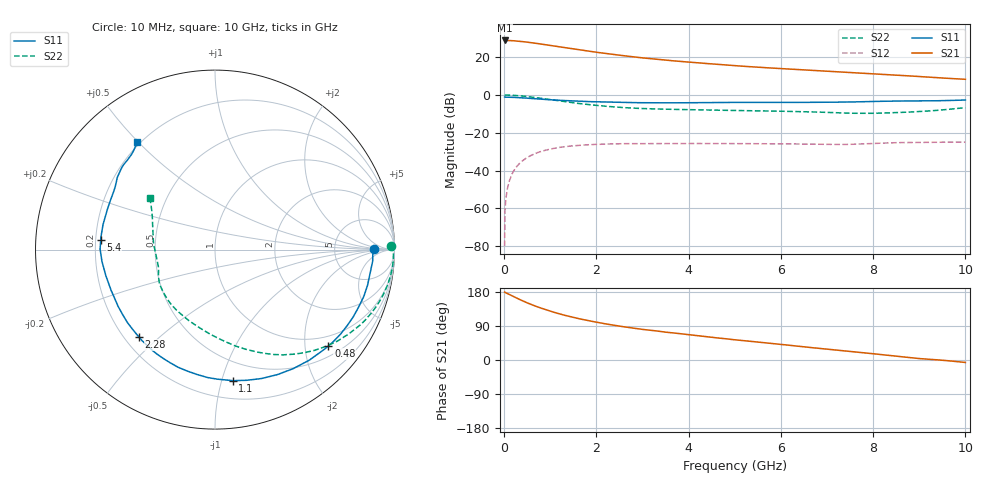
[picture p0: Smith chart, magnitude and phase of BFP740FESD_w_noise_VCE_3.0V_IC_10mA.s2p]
! Infineon Technologies  Discrete & RF Semiconductors
! BFP740FESD
! VCE =  3.0 V,  IC =  10 mA
! Common Emitter S-Parameters:  Jan 2016
# GHz  S  MA  R  50
!  f  S11  S21  S12  S22
! GHz  MAG  ANG  MAG  ANG  MAG  ANG  MAG  ANG
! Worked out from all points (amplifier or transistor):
!   233 points, 10 MHz to 10 GHz, reference 50 ohm
!   highest |S21| = 28.9 dB at 10 MHz (marker M1)
!   |S21| within 3 dB of that: start of sweep to 1.102 GHz
!   unconditionally stable (mu >= 1): start of sweep to 11.35 MHz; 6.442 GHz to end of sweep
!   at 200 MHz: K = 0.05, MSG = 34.6 dB, |S12| = -40.4 dB
!   at 1.74 GHz: K = 0.30, MSG = 25.0 dB, |S12| = -26.4 dB
!   at 10 GHz: K = 1.31, MAG = 13.3 dB, |S12| = -24.9 dB
!   lowest NFmin = 0.61 dB at 450 MHz
!   S11 on the Smith chart (normalised r, x): 10 MHz: 17, +0; 480 MHz: 0.74, -2.54; 1.1 GHz: 0.34, -1.09; 2.28 GHz: 0.26, -0.43; 5.4 GHz: 0.22, +0.04; 10 GHz: 0.19, +0.50
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0.01  0.8863 0.1  27.81 179.3  0.0001 41.2  0.9816 1.3
0.02  0.8796 -1.7  27.7 178.5  0.001 82.1  0.9942 -1.0
0.095  0.8752 -8.2  27.67 174.2  0.0045 84.5  0.9937 -5.4
0.2  0.8693 -17.4  27.35 167.7  0.0095 80.2  0.9818 -11.5
0.26  0.8608 -22.5  26.94 163.9  0.0122 77.1  0.9711 -14.8
0.38  0.8452 -32.4  26.12 157.2  0.0174 71.9  0.9438 -21.3
0.48  0.829 -40.3  25.27 151.9  0.0215 67.6  0.9173 -26.4
0.7  0.7936 -56.7  23.31 141.2  0.0292 59.0  0.8516 -36.8
0.9  0.7638 -70.1  21.46 132.8  0.0348 52.2  0.7894 -45.3
1.1  0.7368 -82.3  19.71 125.2  0.0393 46.2  0.7287 -53.1
1.4  0.7025 -98.4  17.31 115.2  0.0442 38.5  0.6465 -63.7
1.68  0.6798 -110.7  15.42 107.4  0.0471 32.9  0.5853 -72.2
1.94  0.6637 -120.3  13.88 101.1  0.0491 28.6  0.5408 -79.3
2.28  0.6453 -131.1  12.24 93.8  0.0506 24.0  0.4958 -87.7
2.8  0.6288 -145.2  10.23 84.1  0.0517 18.7  0.4496 -99.3
3.4  0.6212 -156.9  8.594 75.1  0.0519 14.9  0.4247 -108.6
4.3  0.6288 -171.1  6.957 62.7  0.0522 11.5  0.4031 -119.8
5.1  0.6395 178.6  5.871 52.2  0.0517 9.2  0.3891 -129.8
5.4  0.639 175.0  5.541 48.5  0.0515 8.8  0.3841 -133.2
6.8  0.642 156.7  4.401 31.1  0.0496 8.0  0.3538 -152.2
8.4  0.6902 139.2  3.434 11.3  0.0544 12.2  0.3396 177.1
10  0.7383 125.9  2.608 -6.5  0.057 9.5  0.4639 141.4
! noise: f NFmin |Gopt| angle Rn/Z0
0.45  0.61  0.23  4  0.1
2.4  0.67  0.14  49  0.1
5.5  0.83  0.3  138  0.07
10  1.41  0.39  -135  0.13
